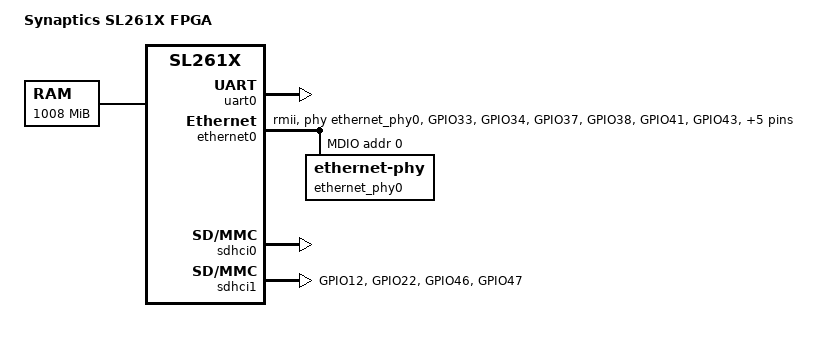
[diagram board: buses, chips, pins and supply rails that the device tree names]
// SPDX-License-Identifier: (GPL-2.0 OR MIT)
/*
 * Copyright (C) 2024 Synaptics Incorporated
 *
 * Author: Jisheng Zhang <jszhang@kernel.org>
 */

/dts-v1/;

#include <dt-bindings/gpio/gpio.h>

#include "sl261x.dtsi"

/ {
	model = "Synaptics SL261X FPGA";
	compatible = "syna,sl261x-fpga", "syna,sl261x";

	chosen {
		bootargs = "maxcpus=1 earlycon";
		stdout-path = "serial0:57600n8";
		linux,initrd-start = <0x08000000>;
		linux,initrd-end = <0x0805a9ec>;
	};

	memory {
		device_type = "memory";
		reg = <0 0x1000000 0 0x3f000000>;
	};
};

&pinctrl {
	mdio_pmux: mdio-pmux {
		groups = "GPIO31", "GPIO32";
		function = "rgmii";
	};

	eth0_pmux: eth0-pmux {
		groups = "GPIO33", "GPIO34", "GPIO37", "GPIO38", "GPIO41", "GPIO43", "GPIO45";
		function = "rmii1";
	};

	sd0_pmux: sd0-pmux {
		groups = "GPIO12", "GPIO22", "GPIO46", "GPIO47";
		function = "sdio1";
	};
};

&sm_pinctrl {
	eth_phy0_pmux: eth_phy0-pmux {
		groups = "SM_GPIO0";
		function = "gpio";
	};
};

&uart0 {
	status = "okay";
};

&ethernet0 {
	status = "okay";
	pinctrl-0 = <&eth0_pmux>, <&mdio_pmux>, <&eth_phy0_pmux>;
	pinctrl-names = "default";
	phy-handle = <&ethernet_phy0>;
	phy-mode = "rmii";
	snps,clk-csr = <0>;
	snps,reset-gpio = <&portc 0 GPIO_ACTIVE_LOW>;
	snps,reset-delays-us = <0 10000 50000>;

	mdio {
		compatible = "snps,dwmac-mdio";
		#address-cells = <1>;
		#size-cells = <0>;

		ethernet_phy0: ethernet-phy@0 {
			reg = <0>;
			max-speed = <100>;
		};
	};
};

&sdhci0 {
	status = "okay";
	no-1-8-v;
};

&sdhci1 {
	status = "okay";
	pinctrl-0 = <&sd0_pmux>;
	pinctrl-names = "default";
	broken-cd;
	no-mmc;
	no-sdio;
	no-1-8-v;
};
